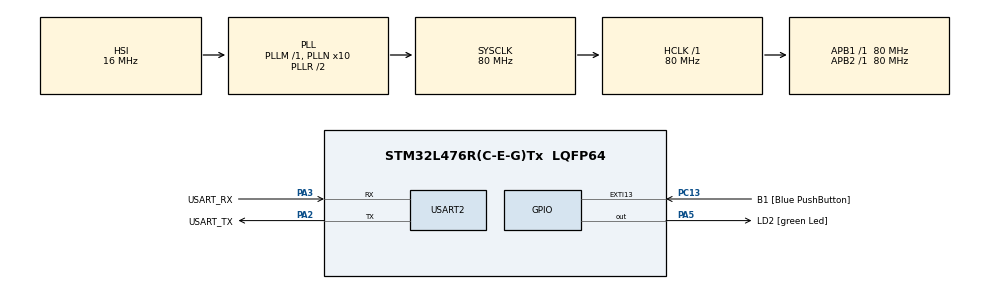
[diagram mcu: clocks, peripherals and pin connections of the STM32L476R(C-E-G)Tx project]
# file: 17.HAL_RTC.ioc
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Mcu.Family=STM32L4
Mcu.Name=STM32L476R(C-E-G)Tx
Mcu.Package=LQFP64
NVIC.PriorityGroup=NVIC_PRIORITYGROUP_4
PA13\ (JTMS-SWDIO).GPIO_Label=TMS
PA13\ (JTMS-SWDIO).Mode=Serial_Wire
PA13\ (JTMS-SWDIO).Signal=SYS_JTMS-SWDIO
PA14\ (JTCK-SWCLK).GPIO_Label=TCK
PA14\ (JTCK-SWCLK).Mode=Serial_Wire
PA14\ (JTCK-SWCLK).Signal=SYS_JTCK-SWCLK
PA2.GPIO_Label=USART_TX
PA2.GPIO_Mode=GPIO_MODE_AF_PP
PA2.GPIO_PuPd=GPIO_NOPULL
PA2.GPIO_Speed=GPIO_SPEED_FREQ_VERY_HIGH
PA2.Mode=Asynchronous
PA2.Signal=USART2_TX
PA3.GPIO_Label=USART_RX
PA3.GPIO_Mode=GPIO_MODE_AF_PP
PA3.GPIO_PuPd=GPIO_NOPULL
PA3.GPIO_Speed=GPIO_SPEED_FREQ_VERY_HIGH
PA3.Mode=Asynchronous
PA3.Signal=USART2_RX
PA5.GPIO_Label=LD2 [green Led]
PA5.GPIO_ModeDefaultOutputPP=GPIO_MODE_OUTPUT_PP
PA5.GPIO_PuPd=GPIO_NOPULL
PA5.GPIO_Speed=GPIO_SPEED_FREQ_LOW
PA5.Signal=GPIO_Output
PB3\ (JTDO-TRACESWO).GPIO_Label=SWO
PB3\ (JTDO-TRACESWO).Signal=SYS_JTDO-SWO
PC13.GPIO_Label=B1 [Blue PushButton]
PC13.GPIO_ModeDefaultEXTI=GPIO_MODE_IT_FALLING
PC13.GPIO_PuPd=GPIO_NOPULL
PC13.Signal=GPXTI13
PC14-OSC32_IN\ (PC14).Mode=LSE-External-Oscillator
PC14-OSC32_IN\ (PC14).Signal=RCC_OSC32_IN
PC15-OSC32_OUT\ (PC15).Mode=LSE-External-Oscillator
PC15-OSC32_OUT\ (PC15).Signal=RCC_OSC32_OUT
PH0-OSC_IN\ (PH0).Signal=RCC_OSC_IN
PH1-OSC_OUT\ (PH1).Signal=RCC_OSC_OUT
ProjectManager.HeapSize=0x200
ProjectManager.StackSize=0x400
ProjectManager.TargetToolchain=STM32CubeIDE
RCC.ADCFreq_Value=64000000
RCC.AHBFreq_Value=80000000
RCC.APB1Freq_Value=80000000
RCC.APB1TimFreq_Value=80000000
RCC.APB2Freq_Value=80000000
RCC.APB2TimFreq_Value=80000000
RCC.CortexFreq_Value=80000000
RCC.HCLKFreq_Value=80000000
RCC.HSE_VALUE=8000000
RCC.HSI_VALUE=16000000
RCC.MSI_VALUE=4000000
RCC.PLLN=10
RCC.PLLSourceVirtual=RCC_PLLSOURCE_HSI
RCC.PREFETCH_ENABLE=1
RCC.SYSCLKFreq_VALUE=80000000
RCC.SYSCLKSource=RCC_SYSCLKSOURCE_PLLCLK
RCC.USBFreq_Value=64000000
RCC.VCOOutputFreq_Value=160000000
USART2.VirtualMode-Asynchronous=VM_ASYNC
VP_RTC_VS_RTC_Activate.Mode=RTC_Enabled
VP_RTC_VS_RTC_Calendar.Mode=RTC_Calendar
board=NUCLEO-L476RG

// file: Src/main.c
/* USER CODE BEGIN Header */
/**
  ******************************************************************************
  * @file           : main.c
  * @brief          : Main program body
  ******************************************************************************
  * @attention
  *
  * <h2><center>&copy; Copyright (c) 2026 STMicroelectronics.
  * All rights reserved.</center></h2>
  *
  * This software component is licensed by ST under BSD 3-Clause license,
  * the "License"; You may not use this file except in compliance with the
  * License. You may obtain a copy of the License at:
  *                        opensource.org/licenses/BSD-3-Clause
  *
  ******************************************************************************
  */
/* USER CODE END Header */

#include "main.h"

/* USER CODE BEGIN Includes */
#include "stdio.h"
#include "string.h"
/* USER CODE END Includes */

RTC_HandleTypeDef hrtc;

UART_HandleTypeDef huart2;

/* USER CODE BEGIN PV */
RTC_TimeTypeDef sTime;
RTC_DateTypeDef sDate;

char msg[100];
/* USER CODE END PV */

void SystemClock_Config(void);
static void MX_GPIO_Init(void);
static void MX_RTC_Init(void);
static void MX_USART2_UART_Init(void);

/* USER CODE BEGIN 0 */
int __io_putchar(int ch)
{
    HAL_UART_Transmit(&huart2, (uint8_t *)&ch, 1, HAL_MAX_DELAY);
    return ch;
}
/* USER CODE END 0 */

int main(void)
{
  /* USER CODE BEGIN 1 */
	/* Set Time */

	HAL_RTC_SetDate(&hrtc, &sDate, RTC_FORMAT_BIN);
  /* USER CODE END 1 */

  /* MCU Configuration--------------------------------------------------------*/

  /* Reset of all peripherals, Initializes the Flash interface and the Systick. */
  HAL_Init();

  /* Configure the system clock */
  SystemClock_Config();

  /* Initialize all configured peripherals */
  MX_GPIO_Init();
  MX_RTC_Init();
  HAL_GPIO_WritePin(GPIOA, GPIO_PIN_5, GPIO_PIN_SET);
  MX_USART2_UART_Init();
  /* USER CODE BEGIN 2 */
  sTime.Hours = 10;
  sTime.Minutes = 30;
  sTime.Seconds = 0;
  sTime.DayLightSaving = RTC_DAYLIGHTSAVING_NONE;
  sTime.StoreOperation = RTC_STOREOPERATION_RESET;

  HAL_RTC_SetTime(&hrtc, &sTime, RTC_FORMAT_BIN);

  sDate.WeekDay = RTC_WEEKDAY_MONDAY;
  sDate.Month = RTC_MONTH_JULY;
  sDate.Date = 13;
  sDate.Year = 26;

  HAL_RTC_SetDate(&hrtc, &sDate, RTC_FORMAT_BIN);

  /* USER CODE END 2 */

  /* Infinite loop */
  /* USER CODE BEGIN WHILE */
  while (1)
  {

//	    char msg[] = "RTC Test\r\n";
//
//	      HAL_UART_Transmit(&huart2,
//	                        (uint8_t *)msg,
//	                        strlen(msg),
//	                        HAL_MAX_DELAY);
//
//	      HAL_GPIO_TogglePin(LD2_GPIO_Port, LD2_Pin);
//
//	      HAL_Delay(1000);

  }
  /* USER CODE END 3 */
}

void SystemClock_Config(void)
{
  RCC_OscInitTypeDef RCC_OscInitStruct = {0};
  RCC_ClkInitTypeDef RCC_ClkInitStruct = {0};
  RCC_PeriphCLKInitTypeDef PeriphClkInit = {0};

  /** Initializes the CPU, AHB and APB busses clocks
  */
  RCC_OscInitStruct.OscillatorType = RCC_OSCILLATORTYPE_HSI|RCC_OSCILLATORTYPE_LSI;
  RCC_OscInitStruct.HSIState = RCC_HSI_ON;
  RCC_OscInitStruct.HSICalibrationValue = RCC_HSICALIBRATION_DEFAULT;
  RCC_OscInitStruct.LSIState = RCC_LSI_ON;
  RCC_OscInitStruct.PLL.PLLState = RCC_PLL_ON;
  RCC_OscInitStruct.PLL.PLLSource = RCC_PLLSOURCE_HSI;
  RCC_OscInitStruct.PLL.PLLM = 1;
  RCC_OscInitStruct.PLL.PLLN = 10;
  RCC_OscInitStruct.PLL.PLLP = RCC_PLLP_DIV7;
  RCC_OscInitStruct.PLL.PLLQ = RCC_PLLQ_DIV2;
  RCC_OscInitStruct.PLL.PLLR = RCC_PLLR_DIV2;
  if (HAL_RCC_OscConfig(&RCC_OscInitStruct) != HAL_OK)
  {
    Error_Handler();
  }
  /** Initializes the CPU, AHB and APB busses clocks
  */
  RCC_ClkInitStruct.ClockType = RCC_CLOCKTYPE_HCLK|RCC_CLOCKTYPE_SYSCLK
                              |RCC_CLOCKTYPE_PCLK1|RCC_CLOCKTYPE_PCLK2;
  RCC_ClkInitStruct.SYSCLKSource = RCC_SYSCLKSOURCE_PLLCLK;
  RCC_ClkInitStruct.AHBCLKDivider = RCC_SYSCLK_DIV1;
  RCC_ClkInitStruct.APB1CLKDivider = RCC_HCLK_DIV1;
  RCC_ClkInitStruct.APB2CLKDivider = RCC_HCLK_DIV1;

  if (HAL_RCC_ClockConfig(&RCC_ClkInitStruct, FLASH_LATENCY_4) != HAL_OK)
  {
    Error_Handler();
  }
  PeriphClkInit.PeriphClockSelection = RCC_PERIPHCLK_RTC|RCC_PERIPHCLK_USART2;
  PeriphClkInit.Usart2ClockSelection = RCC_USART2CLKSOURCE_PCLK1;
  PeriphClkInit.RTCClockSelection = RCC_RTCCLKSOURCE_LSI;
  if (HAL_RCCEx_PeriphCLKConfig(&PeriphClkInit) != HAL_OK)
  {
    Error_Handler();
  }
  /** Configure the main internal regulator output voltage
  */
  if (HAL_PWREx_ControlVoltageScaling(PWR_REGULATOR_VOLTAGE_SCALE1) != HAL_OK)
  {
    Error_Handler();
  }
}

static void MX_RTC_Init(void)
{

  RTC_TimeTypeDef sTime = {0};
  RTC_DateTypeDef sDate = {0};

  /** Initialize RTC Only
  */
  hrtc.Instance = RTC;
  hrtc.Init.HourFormat = RTC_HOURFORMAT_24;
  hrtc.Init.AsynchPrediv = 127;
  hrtc.Init.SynchPrediv = 255;
  hrtc.Init.OutPut = RTC_OUTPUT_DISABLE;
  hrtc.Init.OutPutRemap = RTC_OUTPUT_REMAP_NONE;
  hrtc.Init.OutPutPolarity = RTC_OUTPUT_POLARITY_HIGH;
  hrtc.Init.OutPutType = RTC_OUTPUT_TYPE_OPENDRAIN;
  if (HAL_RTC_Init(&hrtc) != HAL_OK)
  {
    Error_Handler();
  }

  /** Initialize RTC and set the Time and Date
  */
  sTime.Hours = 0x0;
  sTime.Minutes = 0x0;
  sTime.Seconds = 0x0;
  sTime.DayLightSaving = RTC_DAYLIGHTSAVING_NONE;
  sTime.StoreOperation = RTC_STOREOPERATION_RESET;
  if (HAL_RTC_SetTime(&hrtc, &sTime, RTC_FORMAT_BCD) != HAL_OK)
  {
    Error_Handler();
  }
  sDate.WeekDay = RTC_WEEKDAY_MONDAY;
  sDate.Month = RTC_MONTH_JANUARY;
  sDate.Date = 0x1;
  sDate.Year = 0x0;

  if (HAL_RTC_SetDate(&hrtc, &sDate, RTC_FORMAT_BCD) != HAL_OK)
  {
    Error_Handler();
  }

}

static void MX_USART2_UART_Init(void)
{

  huart2.Instance = USART2;
  huart2.Init.BaudRate = 115200;
  huart2.Init.WordLength = UART_WORDLENGTH_8B;
  huart2.Init.StopBits = UART_STOPBITS_1;
  huart2.Init.Parity = UART_PARITY_NONE;
  huart2.Init.Mode = UART_MODE_TX_RX;
  huart2.Init.HwFlowCtl = UART_HWCONTROL_NONE;
  huart2.Init.OverSampling = UART_OVERSAMPLING_16;
  huart2.Init.OneBitSampling = UART_ONE_BIT_SAMPLE_DISABLE;
  huart2.AdvancedInit.AdvFeatureInit = UART_ADVFEATURE_NO_INIT;
  if (HAL_UART_Init(&huart2) != HAL_OK)
  {
    Error_Handler();
  }

}

static void MX_GPIO_Init(void)
{
  GPIO_InitTypeDef GPIO_InitStruct = {0};

  /* GPIO Ports Clock Enable */
  __HAL_RCC_GPIOC_CLK_ENABLE();
  __HAL_RCC_GPIOH_CLK_ENABLE();
  __HAL_RCC_GPIOA_CLK_ENABLE();
  __HAL_RCC_GPIOB_CLK_ENABLE();

  /*Configure GPIO pin Output Level */
  HAL_GPIO_WritePin(LD2_GPIO_Port, LD2_Pin, GPIO_PIN_RESET);

  /*Configure GPIO pin : B1_Pin */
  GPIO_InitStruct.Pin = B1_Pin;
  GPIO_InitStruct.Mode = GPIO_MODE_IT_FALLING;
  GPIO_InitStruct.Pull = GPIO_NOPULL;
  HAL_GPIO_Init(B1_GPIO_Port, &GPIO_InitStruct);

  /*Configure GPIO pin : LD2_Pin */
  GPIO_InitStruct.Pin = LD2_Pin;
  GPIO_InitStruct.Mode = GPIO_MODE_OUTPUT_PP;
  GPIO_InitStruct.Pull = GPIO_NOPULL;
  GPIO_InitStruct.Speed = GPIO_SPEED_FREQ_LOW;
  HAL_GPIO_Init(LD2_GPIO_Port, &GPIO_InitStruct);

}

//void Error_Handler(void)
//{
//  /* USER CODE BEGIN Error_Handler_Debug */
//  /* User can add his own implementation to report the HAL error return state */
//
//  /* USER CODE END Error_Handler_Debug */
//}
void Error_Handler(void)
{
    while (1)
    {
        HAL_GPIO_TogglePin(LD2_GPIO_Port, LD2_Pin);
        HAL_Delay(100);
    }
}

/************************ (C) COPYRIGHT STMicroelectronics *****END OF FILE****/
